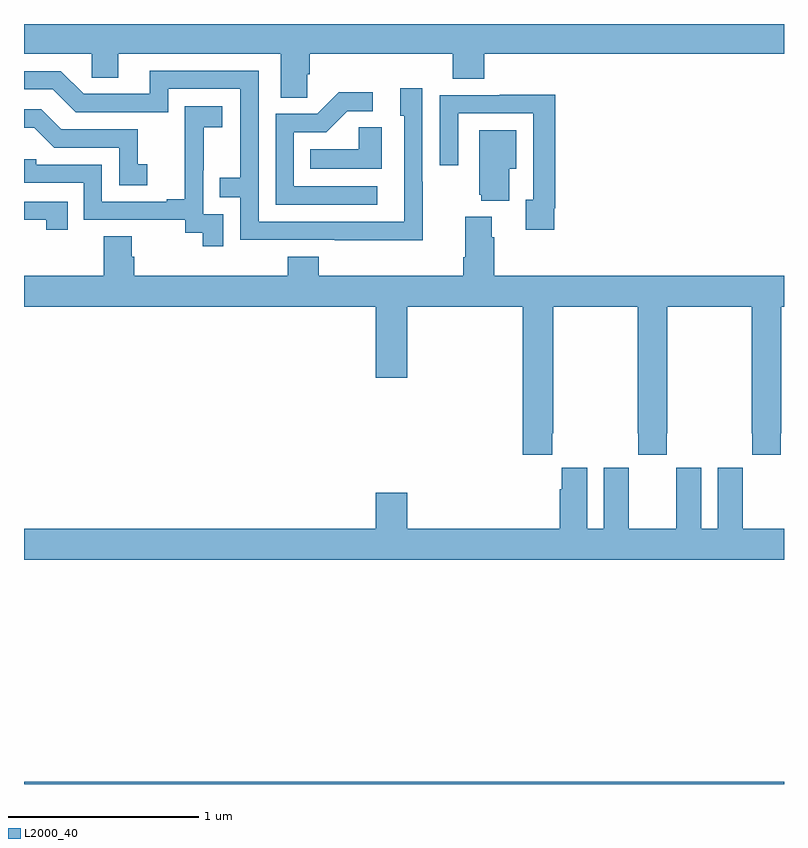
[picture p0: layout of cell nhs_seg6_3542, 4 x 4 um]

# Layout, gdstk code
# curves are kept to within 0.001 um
import gdstk
lib = gdstk.Library(unit=1e-6, precision=1e-09)
def R(c, l, rs):  # rectangles x0, y0, x1, y1
    for r in rs: c.add(gdstk.rectangle(r[:2], r[2:], *l))
def P(c, l, *ps):  # polygons
    for p in ps: c.add(gdstk.Polygon(p, *l))
L2000_40 = (2000, 40)

nhs_seg6_3542 = lib.new_cell('nhs_seg6_3542')
R(nhs_seg6_3542, L2000_40, [(319,935.5,323,935.512)])
P(nhs_seg6_3542, L2000_40, [(323,939.5),(319,939.5),(319,939.344),(319.356,939.344),(319.356,939.217),(319.495,939.217),(319.495,939.344),(320.351,939.344),(320.351,939.112),(320.49,939.112),(320.49,939.235),(320.504,939.235),(320.504,939.344),(321.257,939.344),(321.257,939.211),(321.422,939.211),(321.422,939.344),(323,939.344)],
  [(321.099,938.669),(321.096,938.669),(321.096,939.163),(320.981,939.163),(320.981,939.018),(321,939.018),(321,938.46),(320.235,938.46),(320.235,939.255),(319.661,939.255),(319.661,939.132),(319.314,939.132),(319.194,939.252),(319,939.252),(319,939.156),(319.152,939.156),(319.272,939.036),(319.758,939.036),(319.758,939.159),(320.139,939.159),(320.139,938.69),(320.029,938.69),(320.029,938.589),(320.139,938.589),(320.139,938.364),(321.099,938.363)],
  [(320.86,938.646),(320.421,938.646),(320.421,938.931),(320.59,938.931),(320.701,939.042),(320.836,939.042),(320.836,939.14),(320.657,939.14),(320.544,939.027),(320.325,939.027),(320.325,938.55),(320.86,938.55)],
  [(321.79,938.53),(321.797,938.53),(321.797,939.128),(321.505,939.128),(321.505,939.126),(321.189,939.126),(321.189,938.757),(321.285,938.757),(321.285,939.03),(321.681,939.03),(321.681,938.574),(321.641,938.574),(321.641,938.418),(321.79,938.418)],
  [(320.049,938.499),(319.944,938.499),(319.944,938.729),(319.946,938.729),(319.946,938.957),(320.044,938.957),(320.044,939.067),(319.846,939.067),(319.846,938.861),(319.847,938.861),(319.847,938.578),(319.751,938.578),(319.751,938.565),(319.41,938.565),(319.41,938.76),(319.065,938.76),(319.065,938.787),(319,938.787),(319,938.664),(319.314,938.664),(319.314,938.469),(319.848,938.469),(319.848,938.401),(319.941,938.401),(319.941,938.331),(320.049,938.331)],
  [(319.648,938.761),(319.599,938.761),(319.599,938.946),(319.195,938.946),(319.09,939.051),(319,939.051),(319,938.954),(319.054,938.954),(319.158,938.85),(319.5,938.85),(319.5,938.652),(319.648,938.652)],
  [(320.884,938.957),(320.763,938.957),(320.763,938.842),(320.506,938.842),(320.506,938.738),(320.884,938.738)],
  [(321.553,938.738),(321.592,938.738),(321.592,938.941),(321.395,938.941),(321.395,938.601),(321.407,938.601),(321.407,938.57),(321.553,938.57)],
  [(319.229,938.565),(319,938.565),(319,938.469),(319.118,938.469),(319.118,938.418),(319.229,938.418)],
  [(321.476,938.378),(321.463,938.378),(321.463,938.485),(321.323,938.485),(321.323,938.272),(321.311,938.272),(321.311,938.176),(320.552,938.176),(320.552,938.275),(320.387,938.275),(320.387,938.176),(319.58,938.176),(319.58,938.274),(319.567,938.274),(319.567,938.384),(319.42,938.384),(319.42,938.176),(319,938.176),(319,938.012),(320.852,938.012),(320.852,937.638),(321.016,937.638),(321.016,938.012),(321.626,938.012),(321.626,937.233),(321.779,937.233),(321.779,937.345),(321.786,937.345),(321.786,938.012),(322.231,938.012),(322.231,937.345),(322.233,937.345),(322.233,937.233),(322.383,937.233),(322.383,937.345),(322.386,937.345),(322.386,938.012),(322.831,938.012),(322.831,937.345),(322.833,937.345),(322.833,937.233),(322.983,937.233),(322.983,937.345),(322.986,937.345),(322.986,938.012),(323,938.012),(323,938.176),(321.476,938.176)],
  [(323,936.844),(322.783,936.844),(322.783,937.052),(322.782,937.052),(322.782,937.165),(322.652,937.165),(322.652,936.844),(322.564,936.844),(322.564,937.165),(322.434,937.165),(322.434,937.052),(322.433,937.052),(322.433,936.844),(322.183,936.844),(322.183,937.052),(322.182,937.052),(322.182,937.165),(322.052,937.165),(322.052,936.844),(321.964,936.844),(321.964,937.165),(321.83,937.165),(321.83,937.052),(321.821,937.052),(321.821,936.844),(321.016,936.844),(321.016,937.033),(320.852,937.033),(320.852,936.844),(319,936.844),(319,936.68),(323,936.68)])

lib.write_gds('nhs_seg6_3542.gds')
